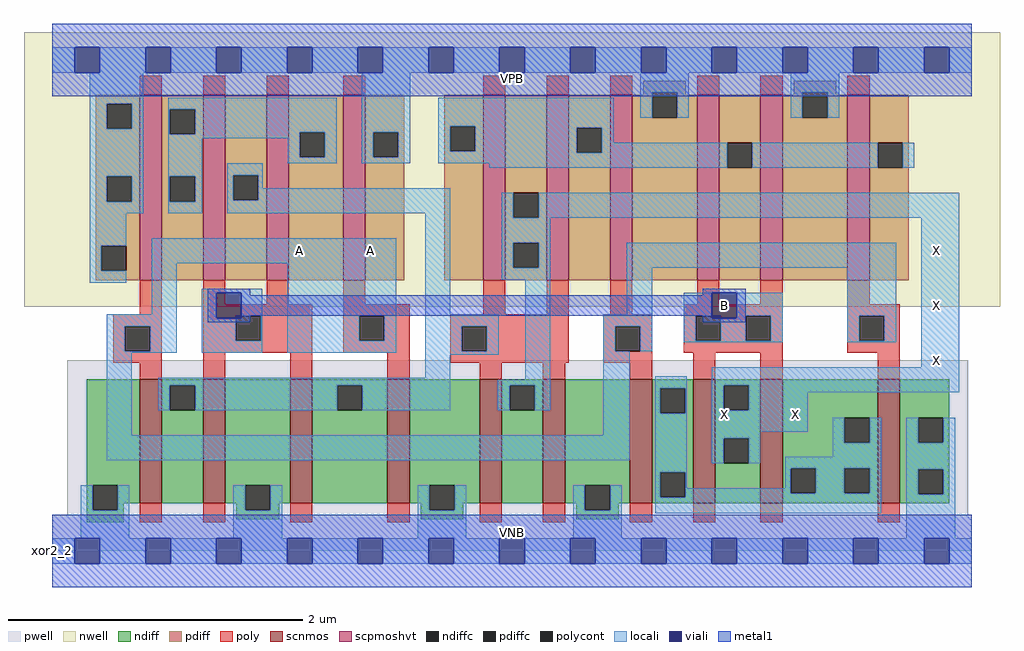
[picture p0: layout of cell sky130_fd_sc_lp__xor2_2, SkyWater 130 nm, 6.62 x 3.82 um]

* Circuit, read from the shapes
.subckt sky130_fd_sc_lp__xor2_2 A B VGND VNB VPB VPWR X
XM1 n1 A VGND VNB sky130_fd_pr__nfet_01v8 w=0.84 l=0.15 m=2
XM2 VGND B n1 VNB sky130_fd_pr__nfet_01v8 w=0.84 l=0.15 m=2
XM3 X n1 VGND VNB sky130_fd_pr__nfet_01v8 w=0.84 l=0.15 m=2
XM4 n2 A VGND VNB sky130_fd_pr__nfet_01v8 w=0.84 l=0.15 m=2
XM5 X B n2 VNB sky130_fd_pr__nfet_01v8 w=0.84 l=0.15 m=2
XM6 n3 A VPWR VPB sky130_fd_pr__pfet_01v8_hvt w=1.26 l=0.15 m=2
XM7 n1 B n3 VPB sky130_fd_pr__pfet_01v8_hvt w=1.26 l=0.15 m=2
XM8 X n1 n4 VPB sky130_fd_pr__pfet_01v8_hvt w=1.26 l=0.15 m=2
XM9 VPWR A n4 VPB sky130_fd_pr__pfet_01v8_hvt w=1.26 l=0.15 m=2
XM10 n4 B VPWR VPB sky130_fd_pr__pfet_01v8_hvt w=1.26 l=0.15 m=2
.ends

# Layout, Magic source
magic
tech sky130A
magscale 1 2
<< nwell >>
rect -38 331 1286 704
<< pwell >>
rect 21 49 1243 259
rect 0 0 1248 49
<< scnmos >>
rect 119 65 149 233
rect 205 65 235 233
rect 323 65 353 233
rect 455 65 485 233
rect 580 65 610 233
rect 666 65 696 233
rect 784 65 814 233
rect 870 65 900 233
rect 961 65 991 233
rect 1120 65 1150 233
<< scpmoshvt >>
rect 119 367 149 619
rect 205 367 235 619
rect 291 367 321 619
rect 395 367 425 619
rect 585 367 615 619
rect 671 367 701 619
rect 757 367 787 619
rect 875 367 905 619
rect 961 367 991 619
rect 1079 367 1109 619
<< ndiff >>
rect 47 89 119 233
rect 47 55 55 89
rect 89 65 119 89
rect 149 225 205 233
rect 149 191 160 225
rect 194 191 205 225
rect 149 65 205 191
rect 235 89 323 233
rect 235 65 262 89
rect 89 55 97 65
rect 47 39 97 55
rect 250 55 262 65
rect 296 65 323 89
rect 353 225 455 233
rect 353 191 387 225
rect 421 191 455 225
rect 353 65 455 191
rect 485 89 580 233
rect 485 65 512 89
rect 296 55 308 65
rect 250 43 308 55
rect 500 55 512 65
rect 546 65 580 89
rect 610 225 666 233
rect 610 191 621 225
rect 655 191 666 225
rect 610 65 666 191
rect 696 89 784 233
rect 696 65 723 89
rect 546 55 558 65
rect 500 43 558 55
rect 711 55 723 65
rect 757 65 784 89
rect 814 221 870 233
rect 814 187 825 221
rect 859 187 870 221
rect 814 107 870 187
rect 814 73 825 107
rect 859 73 870 107
rect 814 65 870 73
rect 900 225 961 233
rect 900 191 911 225
rect 945 191 961 225
rect 900 153 961 191
rect 900 119 911 153
rect 945 119 961 153
rect 900 65 961 119
rect 991 181 1120 233
rect 991 147 1075 181
rect 1109 147 1120 181
rect 991 112 1120 147
rect 991 78 1002 112
rect 1036 78 1075 112
rect 1109 78 1120 112
rect 991 65 1120 78
rect 1150 181 1217 233
rect 1150 147 1175 181
rect 1209 147 1217 181
rect 1150 111 1217 147
rect 1150 77 1175 111
rect 1209 77 1217 111
rect 1150 65 1217 77
rect 757 55 769 65
rect 711 43 769 55
<< pdiff >>
rect 802 622 860 638
rect 802 619 814 622
rect 59 607 119 619
rect 59 573 74 607
rect 108 573 119 607
rect 59 508 119 573
rect 59 474 74 508
rect 108 474 119 508
rect 59 414 119 474
rect 59 380 67 414
rect 101 380 119 414
rect 59 367 119 380
rect 149 599 205 619
rect 149 565 160 599
rect 194 565 205 599
rect 149 508 205 565
rect 149 474 160 508
rect 194 474 205 508
rect 149 367 205 474
rect 235 510 291 619
rect 235 476 246 510
rect 280 476 291 510
rect 235 367 291 476
rect 321 568 395 619
rect 321 534 336 568
rect 370 534 395 568
rect 321 367 395 534
rect 425 568 478 619
rect 425 534 436 568
rect 470 534 478 568
rect 425 367 478 534
rect 532 576 585 619
rect 532 542 540 576
rect 574 542 585 576
rect 532 367 585 542
rect 615 486 671 619
rect 615 452 626 486
rect 660 452 671 486
rect 615 418 671 452
rect 615 384 626 418
rect 660 384 671 418
rect 615 367 671 384
rect 701 574 757 619
rect 701 540 712 574
rect 746 540 757 574
rect 701 367 757 540
rect 787 588 814 619
rect 848 619 860 622
rect 1006 622 1064 638
rect 1006 619 1018 622
rect 848 588 875 619
rect 787 367 875 588
rect 905 554 961 619
rect 905 520 916 554
rect 950 520 961 554
rect 905 367 961 520
rect 991 588 1018 619
rect 1052 619 1064 622
rect 1052 588 1079 619
rect 991 367 1079 588
rect 1109 554 1162 619
rect 1109 520 1120 554
rect 1154 520 1162 554
rect 1109 367 1162 520
<< ndiffc >>
rect 55 55 89 89
rect 160 191 194 225
rect 262 55 296 89
rect 387 191 421 225
rect 512 55 546 89
rect 621 191 655 225
rect 723 55 757 89
rect 825 187 859 221
rect 825 73 859 107
rect 911 191 945 225
rect 911 119 945 153
rect 1075 147 1109 181
rect 1002 78 1036 112
rect 1075 78 1109 112
rect 1175 147 1209 181
rect 1175 77 1209 111
<< pdiffc >>
rect 74 573 108 607
rect 74 474 108 508
rect 67 380 101 414
rect 160 565 194 599
rect 160 474 194 508
rect 246 476 280 510
rect 336 534 370 568
rect 436 534 470 568
rect 540 542 574 576
rect 626 452 660 486
rect 626 384 660 418
rect 712 540 746 574
rect 814 588 848 622
rect 916 520 950 554
rect 1018 588 1052 622
rect 1120 520 1154 554
<< poly >>
rect 119 619 149 645
rect 205 619 235 645
rect 291 619 321 645
rect 395 619 425 645
rect 585 619 615 645
rect 671 619 701 645
rect 757 619 787 645
rect 875 619 905 645
rect 961 619 991 645
rect 1079 619 1109 645
rect 119 321 149 367
rect 83 305 149 321
rect 83 271 99 305
rect 133 271 149 305
rect 83 255 149 271
rect 119 233 149 255
rect 205 335 235 367
rect 291 335 321 367
rect 395 335 425 367
rect 205 319 353 335
rect 205 285 249 319
rect 283 285 353 319
rect 205 269 353 285
rect 395 319 485 335
rect 585 321 615 367
rect 671 321 701 367
rect 757 321 787 367
rect 875 335 905 367
rect 961 335 991 367
rect 395 285 417 319
rect 451 285 485 319
rect 395 269 485 285
rect 205 233 235 269
rect 323 233 353 269
rect 455 233 485 269
rect 540 305 701 321
rect 540 271 556 305
rect 590 271 701 305
rect 540 255 701 271
rect 748 305 814 321
rect 748 271 764 305
rect 798 271 814 305
rect 748 255 814 271
rect 857 319 991 335
rect 857 285 873 319
rect 907 285 941 319
rect 975 285 991 319
rect 857 269 991 285
rect 1079 335 1109 367
rect 1079 319 1150 335
rect 1079 285 1095 319
rect 1129 285 1150 319
rect 1079 269 1150 285
rect 580 233 610 255
rect 666 233 696 255
rect 784 233 814 255
rect 870 233 900 269
rect 961 233 991 269
rect 1120 233 1150 269
rect 119 39 149 65
rect 205 39 235 65
rect 323 39 353 65
rect 455 39 485 65
rect 580 39 610 65
rect 666 39 696 65
rect 784 39 814 65
rect 870 39 900 65
rect 961 39 991 65
rect 1120 39 1150 65
<< polycont >>
rect 99 271 133 305
rect 249 285 283 319
rect 417 285 451 319
rect 556 271 590 305
rect 764 271 798 305
rect 873 285 907 319
rect 941 285 975 319
rect 1095 285 1129 319
<< locali >>
rect 0 649 31 683
rect 65 649 127 683
rect 161 649 223 683
rect 257 649 319 683
rect 353 649 415 683
rect 449 649 511 683
rect 545 649 607 683
rect 641 649 703 683
rect 737 649 799 683
rect 833 649 895 683
rect 929 649 991 683
rect 1025 649 1087 683
rect 1121 649 1183 683
rect 1217 649 1248 683
rect 51 607 124 649
rect 51 573 74 607
rect 108 573 124 607
rect 51 508 124 573
rect 51 474 74 508
rect 108 474 124 508
rect 51 458 124 474
rect 158 599 386 615
rect 158 565 160 599
rect 194 568 386 599
rect 194 565 336 568
rect 158 560 336 565
rect 158 508 204 560
rect 320 534 336 560
rect 370 534 386 568
rect 320 526 386 534
rect 420 568 486 649
rect 798 622 864 649
rect 420 534 436 568
rect 470 534 486 568
rect 420 526 486 534
rect 524 576 762 615
rect 798 588 814 622
rect 848 588 864 622
rect 1002 622 1068 649
rect 1002 588 1018 622
rect 1052 588 1068 622
rect 524 542 540 576
rect 574 574 762 576
rect 574 542 712 574
rect 524 540 712 542
rect 746 554 762 574
rect 746 540 916 554
rect 524 526 916 540
rect 158 474 160 508
rect 194 474 204 508
rect 158 458 204 474
rect 238 510 286 526
rect 593 520 916 526
rect 950 520 1120 554
rect 1154 520 1170 554
rect 238 476 246 510
rect 280 492 286 510
rect 280 476 540 492
rect 238 458 540 476
rect 51 414 101 458
rect 51 380 67 414
rect 51 364 101 380
rect 135 390 467 424
rect 135 321 169 390
rect 74 305 169 321
rect 74 271 99 305
rect 133 271 169 305
rect 74 269 169 271
rect 203 350 285 356
rect 203 316 223 350
rect 257 319 285 350
rect 203 285 249 316
rect 283 285 285 319
rect 203 269 285 285
rect 319 319 467 390
rect 319 285 417 319
rect 451 285 467 319
rect 319 269 467 285
rect 506 321 540 458
rect 610 452 626 486
rect 660 452 1231 486
rect 610 418 676 452
rect 610 384 626 418
rect 660 384 676 418
rect 610 368 676 384
rect 506 305 606 321
rect 506 271 556 305
rect 590 271 606 305
rect 74 157 108 269
rect 506 266 606 271
rect 506 235 540 266
rect 144 225 540 235
rect 642 232 676 368
rect 780 384 1145 418
rect 780 321 814 384
rect 144 191 160 225
rect 194 191 387 225
rect 421 191 540 225
rect 605 225 676 232
rect 605 191 621 225
rect 655 191 676 225
rect 748 305 814 321
rect 748 271 764 305
rect 798 271 814 305
rect 857 319 895 350
rect 929 319 991 350
rect 857 285 873 319
rect 929 316 941 319
rect 907 285 941 316
rect 975 285 991 319
rect 857 283 991 285
rect 1079 319 1145 384
rect 1079 285 1095 319
rect 1129 285 1145 319
rect 1079 283 1145 285
rect 748 157 784 271
rect 1179 249 1231 452
rect 74 123 784 157
rect 818 221 861 237
rect 818 187 825 221
rect 859 187 861 221
rect 818 107 861 187
rect 895 225 1231 249
rect 895 191 911 225
rect 945 215 1231 225
rect 945 191 1025 215
rect 895 162 1025 191
rect 895 153 961 162
rect 895 119 911 153
rect 945 119 961 153
rect 1059 147 1075 181
rect 1109 147 1125 181
rect 1059 128 1125 147
rect 39 55 55 89
rect 89 55 105 89
rect 39 17 105 55
rect 246 55 262 89
rect 296 55 312 89
rect 246 17 312 55
rect 496 55 512 89
rect 546 55 562 89
rect 496 17 562 55
rect 707 55 723 89
rect 757 55 773 89
rect 707 17 773 55
rect 818 73 825 107
rect 859 85 861 107
rect 995 112 1125 128
rect 995 85 1002 112
rect 859 78 1002 85
rect 1036 78 1075 112
rect 1109 78 1125 112
rect 859 73 1125 78
rect 818 51 1125 73
rect 1159 147 1175 181
rect 1209 147 1225 181
rect 1159 111 1225 147
rect 1159 77 1175 111
rect 1209 77 1225 111
rect 1159 17 1225 77
rect 0 -17 31 17
rect 65 -17 127 17
rect 161 -17 223 17
rect 257 -17 319 17
rect 353 -17 415 17
rect 449 -17 511 17
rect 545 -17 607 17
rect 641 -17 703 17
rect 737 -17 799 17
rect 833 -17 895 17
rect 929 -17 991 17
rect 1025 -17 1087 17
rect 1121 -17 1183 17
rect 1217 -17 1248 17
<< viali >>
rect 31 649 65 683
rect 127 649 161 683
rect 223 649 257 683
rect 319 649 353 683
rect 415 649 449 683
rect 511 649 545 683
rect 607 649 641 683
rect 703 649 737 683
rect 799 649 833 683
rect 895 649 929 683
rect 991 649 1025 683
rect 1087 649 1121 683
rect 1183 649 1217 683
rect 223 319 257 350
rect 223 316 249 319
rect 249 316 257 319
rect 895 319 929 350
rect 895 316 907 319
rect 907 316 929 319
rect 31 -17 65 17
rect 127 -17 161 17
rect 223 -17 257 17
rect 319 -17 353 17
rect 415 -17 449 17
rect 511 -17 545 17
rect 607 -17 641 17
rect 703 -17 737 17
rect 799 -17 833 17
rect 895 -17 929 17
rect 991 -17 1025 17
rect 1087 -17 1121 17
rect 1183 -17 1217 17
<< metal1 >>
rect 0 683 1248 715
rect 0 649 31 683
rect 65 649 127 683
rect 161 649 223 683
rect 257 649 319 683
rect 353 649 415 683
rect 449 649 511 683
rect 545 649 607 683
rect 641 649 703 683
rect 737 649 799 683
rect 833 649 895 683
rect 929 649 991 683
rect 1025 649 1087 683
rect 1121 649 1183 683
rect 1217 649 1248 683
rect 0 617 1248 649
rect 211 350 269 356
rect 211 316 223 350
rect 257 347 269 350
rect 883 350 941 356
rect 883 347 895 350
rect 257 319 895 347
rect 257 316 269 319
rect 211 310 269 316
rect 883 316 895 319
rect 929 316 941 350
rect 883 310 941 316
rect 0 17 1248 49
rect 0 -17 31 17
rect 65 -17 127 17
rect 161 -17 223 17
rect 257 -17 319 17
rect 353 -17 415 17
rect 449 -17 511 17
rect 545 -17 607 17
rect 641 -17 703 17
rect 737 -17 799 17
rect 833 -17 895 17
rect 929 -17 991 17
rect 1025 -17 1087 17
rect 1121 -17 1183 17
rect 1217 -17 1248 17
rect 0 -49 1248 -17
<< labels >>
flabel pwell s 0 0 1248 49 0 FreeSans 200 0 0 0 VNB
port 4 nsew ground bidirectional
flabel nwell s 0 617 1248 666 0 FreeSans 200 0 0 0 VPB
port 5 nsew power bidirectional
rlabel comment s 0 0 0 0 4 xor2_2
flabel metal1 s 895 316 929 350 0 FreeSans 200 0 0 0 B
port 2 nsew signal input
flabel metal1 s 0 617 1248 666 0 FreeSans 340 0 0 0 VPWR
port 6 nsew power bidirectional
flabel metal1 s 0 0 1248 49 0 FreeSans 340 0 0 0 VGND
port 3 nsew ground bidirectional
flabel locali s 895 168 929 202 0 FreeSans 340 0 0 0 X
port 7 nsew signal output
flabel locali s 991 168 1025 202 0 FreeSans 340 0 0 0 X
port 7 nsew signal output
flabel locali s 319 390 353 424 0 FreeSans 340 0 0 0 A
port 1 nsew signal input
flabel locali s 415 390 449 424 0 FreeSans 340 0 0 0 A
port 1 nsew signal input
flabel locali s 1183 390 1217 424 0 FreeSans 340 0 0 0 X
port 7 nsew signal output
flabel locali s 1183 316 1217 350 0 FreeSans 340 0 0 0 X
port 7 nsew signal output
flabel locali s 1183 242 1217 276 0 FreeSans 340 0 0 0 X
port 7 nsew signal output
<< properties >>
string LEFsite unit
string LEFclass CORE
string FIXED_BBOX 0 0 1248 666
string GDS_FILE $PDKPATH/libs.ref/sky130_fd_sc_lp/gds/sky130_fd_sc_lp.gds
string LEFsymmetry X Y R90
string GDS_END 2195048
string GDS_START 2185628
<< end >>
